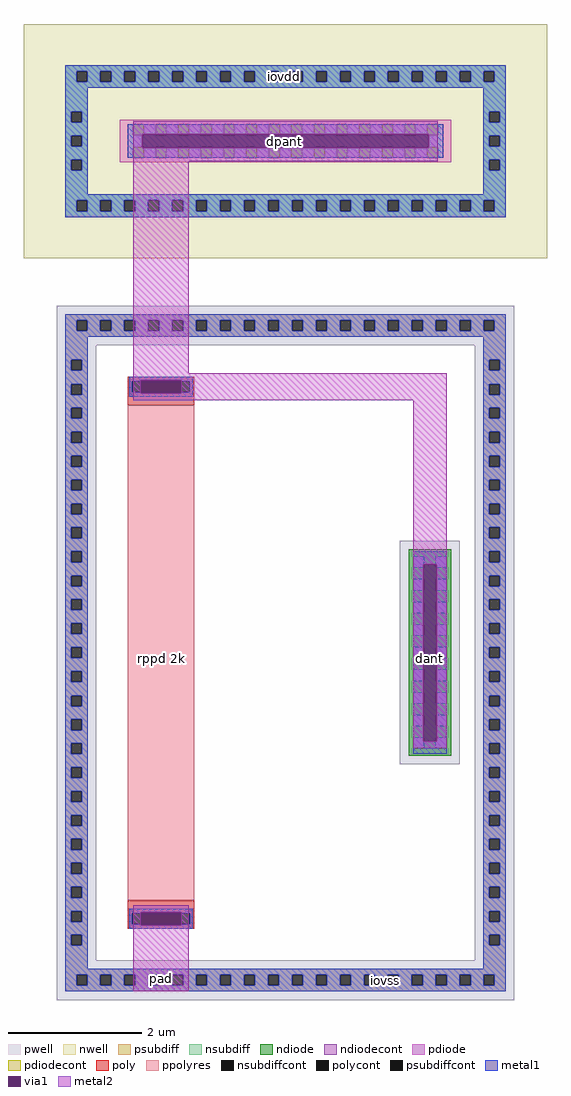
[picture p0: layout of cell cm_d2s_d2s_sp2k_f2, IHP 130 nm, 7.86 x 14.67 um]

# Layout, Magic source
magic
tech ihp-sg13cmos5l
magscale 1 2
<< nwell >>
rect -124 2203 1448 2907
<< pwell >>
rect -26 1941 1350 2061
rect -26 94 94 1941
rect 1230 94 1350 1941
rect -26 -26 1350 94
<< psubdiff >>
rect 0 2017 1324 2035
rect 0 1985 34 2017
rect 66 1985 106 2017
rect 138 1985 178 2017
rect 210 1985 250 2017
rect 282 1985 322 2017
rect 354 1985 394 2017
rect 426 1985 466 2017
rect 498 1985 538 2017
rect 570 1985 610 2017
rect 642 1985 682 2017
rect 714 1985 754 2017
rect 786 1985 826 2017
rect 858 1985 898 2017
rect 930 1985 970 2017
rect 1002 1985 1042 2017
rect 1074 1985 1114 2017
rect 1146 1985 1186 2017
rect 1218 1985 1258 2017
rect 1290 1985 1324 2017
rect 0 1967 1324 1985
rect 0 1898 68 1967
rect 0 1866 18 1898
rect 50 1866 68 1898
rect 0 1825 68 1866
rect 0 1793 18 1825
rect 50 1793 68 1825
rect 0 1754 68 1793
rect 0 1722 18 1754
rect 50 1722 68 1754
rect 0 1681 68 1722
rect 0 1649 18 1681
rect 50 1649 68 1681
rect 0 1609 68 1649
rect 0 1577 18 1609
rect 50 1577 68 1609
rect 0 1538 68 1577
rect 0 1506 18 1538
rect 50 1506 68 1538
rect 0 1465 68 1506
rect 0 1433 18 1465
rect 50 1433 68 1465
rect 0 1394 68 1433
rect 0 1362 18 1394
rect 50 1362 68 1394
rect 0 1322 68 1362
rect 0 1290 18 1322
rect 50 1290 68 1322
rect 0 1249 68 1290
rect 0 1217 18 1249
rect 50 1217 68 1249
rect 0 1178 68 1217
rect 0 1146 18 1178
rect 50 1146 68 1178
rect 0 1106 68 1146
rect 0 1074 18 1106
rect 50 1074 68 1106
rect 0 1034 68 1074
rect 0 1002 18 1034
rect 50 1002 68 1034
rect 0 962 68 1002
rect 0 930 18 962
rect 50 930 68 962
rect 0 889 68 930
rect 0 857 18 889
rect 50 857 68 889
rect 0 817 68 857
rect 0 785 18 817
rect 50 785 68 817
rect 0 746 68 785
rect 0 714 18 746
rect 50 714 68 746
rect 0 674 68 714
rect 0 642 18 674
rect 50 642 68 674
rect 0 602 68 642
rect 0 570 18 602
rect 50 570 68 602
rect 0 529 68 570
rect 0 497 18 529
rect 50 497 68 529
rect 0 458 68 497
rect 0 426 18 458
rect 50 426 68 458
rect 0 386 68 426
rect 0 354 18 386
rect 50 354 68 386
rect 0 314 68 354
rect 0 282 18 314
rect 50 282 68 314
rect 0 241 68 282
rect 0 209 18 241
rect 50 209 68 241
rect 0 170 68 209
rect 0 138 18 170
rect 50 138 68 170
rect 0 68 68 138
rect 1256 1898 1324 1967
rect 1256 1866 1274 1898
rect 1306 1866 1324 1898
rect 1256 1825 1324 1866
rect 1256 1793 1274 1825
rect 1306 1793 1324 1825
rect 1256 1754 1324 1793
rect 1256 1722 1274 1754
rect 1306 1722 1324 1754
rect 1256 1681 1324 1722
rect 1256 1649 1274 1681
rect 1306 1649 1324 1681
rect 1256 1609 1324 1649
rect 1256 1577 1274 1609
rect 1306 1577 1324 1609
rect 1256 1538 1324 1577
rect 1256 1506 1274 1538
rect 1306 1506 1324 1538
rect 1256 1465 1324 1506
rect 1256 1433 1274 1465
rect 1306 1433 1324 1465
rect 1256 1394 1324 1433
rect 1256 1362 1274 1394
rect 1306 1362 1324 1394
rect 1256 1322 1324 1362
rect 1256 1290 1274 1322
rect 1306 1290 1324 1322
rect 1256 1249 1324 1290
rect 1256 1217 1274 1249
rect 1306 1217 1324 1249
rect 1256 1178 1324 1217
rect 1256 1146 1274 1178
rect 1306 1146 1324 1178
rect 1256 1106 1324 1146
rect 1256 1074 1274 1106
rect 1306 1074 1324 1106
rect 1256 1034 1324 1074
rect 1256 1002 1274 1034
rect 1306 1002 1324 1034
rect 1256 962 1324 1002
rect 1256 930 1274 962
rect 1306 930 1324 962
rect 1256 889 1324 930
rect 1256 857 1274 889
rect 1306 857 1324 889
rect 1256 817 1324 857
rect 1256 785 1274 817
rect 1306 785 1324 817
rect 1256 746 1324 785
rect 1256 714 1274 746
rect 1306 714 1324 746
rect 1256 674 1324 714
rect 1256 642 1274 674
rect 1306 642 1324 674
rect 1256 602 1324 642
rect 1256 570 1274 602
rect 1306 570 1324 602
rect 1256 529 1324 570
rect 1256 497 1274 529
rect 1306 497 1324 529
rect 1256 458 1324 497
rect 1256 426 1274 458
rect 1306 426 1324 458
rect 1256 386 1324 426
rect 1256 354 1274 386
rect 1306 354 1324 386
rect 1256 314 1324 354
rect 1256 282 1274 314
rect 1306 282 1324 314
rect 1256 241 1324 282
rect 1256 209 1274 241
rect 1306 209 1324 241
rect 1256 170 1324 209
rect 1256 138 1274 170
rect 1306 138 1324 170
rect 1256 68 1324 138
rect 0 50 1324 68
rect 0 18 34 50
rect 66 18 106 50
rect 138 18 178 50
rect 210 18 250 50
rect 282 18 322 50
rect 354 18 394 50
rect 426 18 466 50
rect 498 18 538 50
rect 570 18 610 50
rect 642 18 682 50
rect 714 18 754 50
rect 786 18 826 50
rect 858 18 898 50
rect 930 18 970 50
rect 1002 18 1042 50
rect 1074 18 1114 50
rect 1146 18 1186 50
rect 1218 18 1258 50
rect 1290 18 1324 50
rect 0 0 1324 18
<< nsubdiff >>
rect 0 2765 1324 2783
rect 0 2733 34 2765
rect 66 2733 106 2765
rect 138 2733 178 2765
rect 210 2733 250 2765
rect 282 2733 322 2765
rect 354 2733 394 2765
rect 426 2733 466 2765
rect 498 2733 538 2765
rect 570 2733 610 2765
rect 642 2733 682 2765
rect 714 2733 754 2765
rect 786 2733 826 2765
rect 858 2733 898 2765
rect 930 2733 970 2765
rect 1002 2733 1042 2765
rect 1074 2733 1114 2765
rect 1146 2733 1186 2765
rect 1218 2733 1258 2765
rect 1290 2733 1324 2765
rect 0 2715 1324 2733
rect 0 2643 68 2715
rect 0 2611 18 2643
rect 50 2611 68 2643
rect 0 2571 68 2611
rect 0 2539 18 2571
rect 50 2539 68 2571
rect 0 2499 68 2539
rect 0 2467 18 2499
rect 50 2467 68 2499
rect 0 2395 68 2467
rect 1256 2643 1324 2715
rect 1256 2611 1274 2643
rect 1306 2611 1324 2643
rect 1256 2571 1324 2611
rect 1256 2539 1274 2571
rect 1306 2539 1324 2571
rect 1256 2499 1324 2539
rect 1256 2467 1274 2499
rect 1306 2467 1324 2499
rect 1256 2395 1324 2467
rect 0 2377 1324 2395
rect 0 2345 34 2377
rect 66 2345 106 2377
rect 138 2345 178 2377
rect 210 2345 250 2377
rect 282 2345 322 2377
rect 354 2345 394 2377
rect 426 2345 466 2377
rect 498 2345 538 2377
rect 570 2345 610 2377
rect 642 2345 682 2377
rect 714 2345 754 2377
rect 786 2345 826 2377
rect 858 2345 898 2377
rect 930 2345 970 2377
rect 1002 2345 1042 2377
rect 1074 2345 1114 2377
rect 1146 2345 1186 2377
rect 1218 2345 1258 2377
rect 1290 2345 1324 2377
rect 0 2327 1324 2345
<< psubdiffcont >>
rect 34 1985 66 2017
rect 106 1985 138 2017
rect 178 1985 210 2017
rect 250 1985 282 2017
rect 322 1985 354 2017
rect 394 1985 426 2017
rect 466 1985 498 2017
rect 538 1985 570 2017
rect 610 1985 642 2017
rect 682 1985 714 2017
rect 754 1985 786 2017
rect 826 1985 858 2017
rect 898 1985 930 2017
rect 970 1985 1002 2017
rect 1042 1985 1074 2017
rect 1114 1985 1146 2017
rect 1186 1985 1218 2017
rect 1258 1985 1290 2017
rect 18 1866 50 1898
rect 18 1793 50 1825
rect 18 1722 50 1754
rect 18 1649 50 1681
rect 18 1577 50 1609
rect 18 1506 50 1538
rect 18 1433 50 1465
rect 18 1362 50 1394
rect 18 1290 50 1322
rect 18 1217 50 1249
rect 18 1146 50 1178
rect 18 1074 50 1106
rect 18 1002 50 1034
rect 18 930 50 962
rect 18 857 50 889
rect 18 785 50 817
rect 18 714 50 746
rect 18 642 50 674
rect 18 570 50 602
rect 18 497 50 529
rect 18 426 50 458
rect 18 354 50 386
rect 18 282 50 314
rect 18 209 50 241
rect 18 138 50 170
rect 1274 1866 1306 1898
rect 1274 1793 1306 1825
rect 1274 1722 1306 1754
rect 1274 1649 1306 1681
rect 1274 1577 1306 1609
rect 1274 1506 1306 1538
rect 1274 1433 1306 1465
rect 1274 1362 1306 1394
rect 1274 1290 1306 1322
rect 1274 1217 1306 1249
rect 1274 1146 1306 1178
rect 1274 1074 1306 1106
rect 1274 1002 1306 1034
rect 1274 930 1306 962
rect 1274 857 1306 889
rect 1274 785 1306 817
rect 1274 714 1306 746
rect 1274 642 1306 674
rect 1274 570 1306 602
rect 1274 497 1306 529
rect 1274 426 1306 458
rect 1274 354 1306 386
rect 1274 282 1306 314
rect 1274 209 1306 241
rect 1274 138 1306 170
rect 34 18 66 50
rect 106 18 138 50
rect 178 18 210 50
rect 250 18 282 50
rect 322 18 354 50
rect 394 18 426 50
rect 466 18 498 50
rect 538 18 570 50
rect 610 18 642 50
rect 682 18 714 50
rect 754 18 786 50
rect 826 18 858 50
rect 898 18 930 50
rect 970 18 1002 50
rect 1042 18 1074 50
rect 1114 18 1146 50
rect 1186 18 1218 50
rect 1258 18 1290 50
<< nsubdiffcont >>
rect 34 2733 66 2765
rect 106 2733 138 2765
rect 178 2733 210 2765
rect 250 2733 282 2765
rect 322 2733 354 2765
rect 394 2733 426 2765
rect 466 2733 498 2765
rect 538 2733 570 2765
rect 610 2733 642 2765
rect 682 2733 714 2765
rect 754 2733 786 2765
rect 826 2733 858 2765
rect 898 2733 930 2765
rect 970 2733 1002 2765
rect 1042 2733 1074 2765
rect 1114 2733 1146 2765
rect 1186 2733 1218 2765
rect 1258 2733 1290 2765
rect 18 2611 50 2643
rect 18 2539 50 2571
rect 18 2467 50 2499
rect 1274 2611 1306 2643
rect 1274 2539 1306 2571
rect 1274 2467 1306 2499
rect 34 2345 66 2377
rect 106 2345 138 2377
rect 178 2345 210 2377
rect 250 2345 282 2377
rect 322 2345 354 2377
rect 394 2345 426 2377
rect 466 2345 498 2377
rect 538 2345 570 2377
rect 610 2345 642 2377
rect 682 2345 714 2377
rect 754 2345 786 2377
rect 826 2345 858 2377
rect 898 2345 930 2377
rect 970 2345 1002 2377
rect 1042 2345 1074 2377
rect 1114 2345 1146 2377
rect 1186 2345 1218 2377
rect 1258 2345 1290 2377
<< metal1 >>
rect 0 2765 1324 2783
rect 0 2733 34 2765
rect 66 2733 106 2765
rect 138 2733 178 2765
rect 210 2733 250 2765
rect 282 2733 322 2765
rect 354 2733 394 2765
rect 426 2733 466 2765
rect 498 2733 538 2765
rect 570 2733 610 2765
rect 642 2733 682 2765
rect 714 2733 754 2765
rect 786 2733 826 2765
rect 858 2733 898 2765
rect 930 2733 970 2765
rect 1002 2733 1042 2765
rect 1074 2733 1114 2765
rect 1146 2733 1186 2765
rect 1218 2733 1258 2765
rect 1290 2733 1324 2765
rect 0 2715 1324 2733
rect 0 2643 68 2715
rect 0 2611 18 2643
rect 50 2611 68 2643
rect 0 2571 68 2611
rect 1256 2643 1324 2715
rect 1256 2611 1274 2643
rect 1306 2611 1324 2643
rect 0 2539 18 2571
rect 50 2539 68 2571
rect 0 2499 68 2539
rect 188 2575 1136 2605
rect 188 2535 232 2575
rect 1092 2535 1136 2575
rect 188 2505 1136 2535
rect 1256 2571 1324 2611
rect 1256 2539 1274 2571
rect 1306 2539 1324 2571
rect 0 2467 18 2499
rect 50 2467 68 2499
rect 0 2395 68 2467
rect 1256 2499 1324 2539
rect 1256 2467 1274 2499
rect 1306 2467 1324 2499
rect 1256 2395 1324 2467
rect 0 2377 1324 2395
rect 0 2345 34 2377
rect 66 2345 106 2377
rect 138 2345 178 2377
rect 210 2345 250 2377
rect 282 2345 322 2377
rect 354 2345 394 2377
rect 426 2345 466 2377
rect 498 2345 538 2377
rect 570 2345 610 2377
rect 642 2345 682 2377
rect 714 2345 754 2377
rect 786 2345 826 2377
rect 858 2345 898 2377
rect 930 2345 970 2377
rect 1002 2345 1042 2377
rect 1074 2345 1114 2377
rect 1146 2345 1186 2377
rect 1218 2345 1258 2377
rect 1290 2345 1324 2377
rect 0 2327 1324 2345
rect 0 2017 1324 2035
rect 0 1985 34 2017
rect 66 1985 106 2017
rect 138 1985 178 2017
rect 210 1985 250 2017
rect 282 1985 322 2017
rect 354 1985 394 2017
rect 426 1985 466 2017
rect 498 1985 538 2017
rect 570 1985 610 2017
rect 642 1985 682 2017
rect 714 1985 754 2017
rect 786 1985 826 2017
rect 858 1985 898 2017
rect 930 1985 970 2017
rect 1002 1985 1042 2017
rect 1074 1985 1114 2017
rect 1146 1985 1186 2017
rect 1218 1985 1258 2017
rect 1290 1985 1324 2017
rect 0 1967 1324 1985
rect 0 1898 68 1967
rect 0 1866 18 1898
rect 50 1866 68 1898
rect 0 1825 68 1866
rect 1256 1898 1324 1967
rect 1256 1866 1274 1898
rect 1306 1866 1324 1898
rect 0 1793 18 1825
rect 50 1793 68 1825
rect 1256 1825 1324 1866
rect 0 1754 68 1793
rect 0 1722 18 1754
rect 50 1722 68 1754
rect 0 1681 68 1722
rect 0 1649 18 1681
rect 50 1649 68 1681
rect 0 1609 68 1649
rect 0 1577 18 1609
rect 50 1577 68 1609
rect 0 1538 68 1577
rect 0 1506 18 1538
rect 50 1506 68 1538
rect 0 1465 68 1506
rect 0 1433 18 1465
rect 50 1433 68 1465
rect 0 1394 68 1433
rect 0 1362 18 1394
rect 50 1362 68 1394
rect 0 1322 68 1362
rect 1256 1793 1274 1825
rect 1306 1793 1324 1825
rect 1256 1754 1324 1793
rect 1256 1722 1274 1754
rect 1306 1722 1324 1754
rect 1256 1681 1324 1722
rect 1256 1649 1274 1681
rect 1306 1649 1324 1681
rect 1256 1609 1324 1649
rect 1256 1577 1274 1609
rect 1306 1577 1324 1609
rect 1256 1538 1324 1577
rect 1256 1506 1274 1538
rect 1306 1506 1324 1538
rect 1256 1465 1324 1506
rect 1256 1433 1274 1465
rect 1306 1433 1324 1465
rect 1256 1394 1324 1433
rect 1256 1362 1274 1394
rect 1306 1362 1324 1394
rect 1256 1322 1324 1362
rect 0 1290 18 1322
rect 50 1290 68 1322
rect 0 1249 68 1290
rect 0 1217 18 1249
rect 50 1217 68 1249
rect 0 1178 68 1217
rect 0 1146 18 1178
rect 50 1146 68 1178
rect 0 1106 68 1146
rect 0 1074 18 1106
rect 50 1074 68 1106
rect 0 1034 68 1074
rect 0 1002 18 1034
rect 50 1002 68 1034
rect 0 962 68 1002
rect 0 930 18 962
rect 50 930 68 962
rect 0 889 68 930
rect 0 857 18 889
rect 50 857 68 889
rect 0 817 68 857
rect 0 785 18 817
rect 50 785 68 817
rect 0 746 68 785
rect 0 714 18 746
rect 50 714 68 746
rect 1046 1284 1146 1322
rect 1046 752 1076 1284
rect 1116 752 1146 1284
rect 1046 714 1146 752
rect 1256 1290 1274 1322
rect 1306 1290 1324 1322
rect 1256 1249 1324 1290
rect 1256 1217 1274 1249
rect 1306 1217 1324 1249
rect 1256 1178 1324 1217
rect 1256 1146 1274 1178
rect 1306 1146 1324 1178
rect 1256 1106 1324 1146
rect 1256 1074 1274 1106
rect 1306 1074 1324 1106
rect 1256 1034 1324 1074
rect 1256 1002 1274 1034
rect 1306 1002 1324 1034
rect 1256 962 1324 1002
rect 1256 930 1274 962
rect 1306 930 1324 962
rect 1256 889 1324 930
rect 1256 857 1274 889
rect 1306 857 1324 889
rect 1256 817 1324 857
rect 1256 785 1274 817
rect 1306 785 1324 817
rect 1256 746 1324 785
rect 1256 714 1274 746
rect 1306 714 1324 746
rect 0 674 68 714
rect 0 642 18 674
rect 50 642 68 674
rect 0 602 68 642
rect 0 570 18 602
rect 50 570 68 602
rect 0 529 68 570
rect 0 497 18 529
rect 50 497 68 529
rect 0 458 68 497
rect 0 426 18 458
rect 50 426 68 458
rect 0 386 68 426
rect 0 354 18 386
rect 50 354 68 386
rect 0 314 68 354
rect 0 282 18 314
rect 50 282 68 314
rect 0 241 68 282
rect 0 209 18 241
rect 50 209 68 241
rect 1256 674 1324 714
rect 1256 642 1274 674
rect 1306 642 1324 674
rect 1256 602 1324 642
rect 1256 570 1274 602
rect 1306 570 1324 602
rect 1256 529 1324 570
rect 1256 497 1274 529
rect 1306 497 1324 529
rect 1256 458 1324 497
rect 1256 426 1274 458
rect 1306 426 1324 458
rect 1256 386 1324 426
rect 1256 354 1274 386
rect 1306 354 1324 386
rect 1256 314 1324 354
rect 1256 282 1274 314
rect 1306 282 1324 314
rect 1256 241 1324 282
rect 0 170 68 209
rect 1256 209 1274 241
rect 1306 209 1324 241
rect 0 138 18 170
rect 50 138 68 170
rect 0 68 68 138
rect 1256 170 1324 209
rect 1256 138 1274 170
rect 1306 138 1324 170
rect 1256 68 1324 138
rect 0 50 1324 68
rect 0 18 34 50
rect 66 18 106 50
rect 138 18 178 50
rect 210 18 250 50
rect 282 18 322 50
rect 354 18 394 50
rect 426 18 466 50
rect 498 18 538 50
rect 570 18 610 50
rect 642 18 682 50
rect 714 18 754 50
rect 786 18 826 50
rect 858 18 898 50
rect 930 18 970 50
rect 1002 18 1042 50
rect 1074 18 1114 50
rect 1146 18 1186 50
rect 1218 18 1258 50
rect 1290 18 1324 50
rect 0 0 1324 18
<< via1 >>
rect 232 2535 1092 2575
rect 227 1797 349 1837
rect 1076 752 1116 1284
rect 227 198 349 238
<< metal2 >>
rect 204 2575 1120 2615
rect 204 2535 232 2575
rect 1092 2535 1120 2575
rect 204 2495 1120 2535
rect 204 1857 372 2495
rect 204 1837 1146 1857
rect 204 1797 227 1837
rect 349 1797 1146 1837
rect 204 1777 1146 1797
rect 1046 1284 1146 1777
rect 1046 752 1076 1284
rect 1116 752 1146 1284
rect 1046 730 1146 752
rect 204 238 372 258
rect 204 198 227 238
rect 349 198 372 238
rect 204 0 372 198
use cm_d2s_dantenna  cm_d2s_dantenna_0
transform 1 0 1032 0 1 708
box -26 -26 154 646
use cm_d2s_dpantenna  cm_d2s_dpantenna_0
transform 0 -1 1160 1 0 2491
box -62 -62 190 1058
use cm_d2s_rppd  cm_d2s_rppd_0
transform 1 0 188 0 1 274
box 0 -86 200 1573
<< labels >>
rlabel comment s 288 1000 288 1000 4 rppd 2k
rlabel comment s 1096 1000 1096 1000 4 dant
rlabel comment s 660 2555 660 2555 4 dpant
rlabel metal2 s 204 0 372 80 4 pad
port 2 nsew
rlabel metal2 s 1046 908 1146 1008 4 core
port 3 nsew
rlabel metal1 s 600 0 1324 68 4 iovss
port 4 nsew
rlabel metal1 s 400 2715 920 2783 4 iovdd
port 5 nsew
<< properties >>
string GDS_END 274912
string GDS_FILE custom_io/gds/sg13cmos5l_IOPadDiff2Single.uniq.gds
string GDS_START 262772
<< end >>

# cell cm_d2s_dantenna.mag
magic
tech ihp-sg13cmos5l
<< pwell >>
rect -13 -13 77 323
<< ndiode >>
rect 0 299 64 310
rect 0 283 7 299
rect 23 283 41 299
rect 57 283 64 299
rect 0 265 64 283
rect 0 249 7 265
rect 23 249 41 265
rect 57 249 64 265
rect 0 231 64 249
rect 0 215 7 231
rect 23 215 41 231
rect 57 215 64 231
rect 0 197 64 215
rect 0 181 7 197
rect 23 181 41 197
rect 57 181 64 197
rect 0 163 64 181
rect 0 147 7 163
rect 23 147 41 163
rect 57 147 64 163
rect 0 129 64 147
rect 0 113 7 129
rect 23 113 41 129
rect 57 113 64 129
rect 0 95 64 113
rect 0 79 7 95
rect 23 79 41 95
rect 57 79 64 95
rect 0 61 64 79
rect 0 45 7 61
rect 23 45 41 61
rect 57 45 64 61
rect 0 27 64 45
rect 0 11 7 27
rect 23 11 41 27
rect 57 11 64 27
rect 0 0 64 11
<< ndiodecont >>
rect 7 283 23 299
rect 41 283 57 299
rect 7 249 23 265
rect 41 249 57 265
rect 7 215 23 231
rect 41 215 57 231
rect 7 181 23 197
rect 41 181 57 197
rect 7 147 23 163
rect 41 147 57 163
rect 7 113 23 129
rect 41 113 57 129
rect 7 79 23 95
rect 41 79 57 95
rect 7 45 23 61
rect 41 45 57 61
rect 7 11 23 27
rect 41 11 57 27
<< metal1 >>
rect 23 283 41 299
rect 7 265 57 283
rect 23 249 41 265
rect 7 231 57 249
rect 23 215 41 231
rect 7 197 57 215
rect 23 181 41 197
rect 7 163 57 181
rect 23 147 41 163
rect 7 129 57 147
rect 23 113 41 129
rect 7 95 57 113
rect 23 79 41 95
rect 7 61 57 79
rect 23 45 41 61
rect 7 27 57 45
rect 23 11 41 27
<< labels >>
flabel comment s 32 155 32 155 0 FreeSans 200 0 0 0 dant
<< properties >>
string GDS_END 59674
string GDS_FILE custom_io/gds/sg13cmos5l_IOPadDiff2Single.uniq.gds
string GDS_START 58198
<< end >>

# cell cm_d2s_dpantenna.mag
magic
tech ihp-sg13cmos5l
<< nwell >>
rect -31 -31 95 529
<< pdiode >>
rect 0 478 64 498
rect 0 462 7 478
rect 23 462 41 478
rect 57 462 64 478
rect 0 444 64 462
rect 0 428 7 444
rect 23 428 41 444
rect 57 428 64 444
rect 0 410 64 428
rect 0 394 7 410
rect 23 394 41 410
rect 57 394 64 410
rect 0 376 64 394
rect 0 360 7 376
rect 23 360 41 376
rect 57 360 64 376
rect 0 342 64 360
rect 0 326 7 342
rect 23 326 41 342
rect 57 326 64 342
rect 0 308 64 326
rect 0 292 7 308
rect 23 292 41 308
rect 57 292 64 308
rect 0 274 64 292
rect 0 258 7 274
rect 23 258 41 274
rect 57 258 64 274
rect 0 240 64 258
rect 0 224 7 240
rect 23 224 41 240
rect 57 224 64 240
rect 0 206 64 224
rect 0 190 7 206
rect 23 190 41 206
rect 57 190 64 206
rect 0 172 64 190
rect 0 156 7 172
rect 23 156 41 172
rect 57 156 64 172
rect 0 138 64 156
rect 0 122 7 138
rect 23 122 41 138
rect 57 122 64 138
rect 0 104 64 122
rect 0 88 7 104
rect 23 88 41 104
rect 57 88 64 104
rect 0 70 64 88
rect 0 54 7 70
rect 23 54 41 70
rect 57 54 64 70
rect 0 36 64 54
rect 0 20 7 36
rect 23 20 41 36
rect 57 20 64 36
rect 0 0 64 20
<< pdiodecont >>
rect 7 462 23 478
rect 41 462 57 478
rect 7 428 23 444
rect 41 428 57 444
rect 7 394 23 410
rect 41 394 57 410
rect 7 360 23 376
rect 41 360 57 376
rect 7 326 23 342
rect 41 326 57 342
rect 7 292 23 308
rect 41 292 57 308
rect 7 258 23 274
rect 41 258 57 274
rect 7 224 23 240
rect 41 224 57 240
rect 7 190 23 206
rect 41 190 57 206
rect 7 156 23 172
rect 41 156 57 172
rect 7 122 23 138
rect 41 122 57 138
rect 7 88 23 104
rect 41 88 57 104
rect 7 54 23 70
rect 41 54 57 70
rect 7 20 23 36
rect 41 20 57 36
<< metal1 >>
rect 23 462 41 478
rect 7 444 57 462
rect 23 428 41 444
rect 7 410 57 428
rect 23 394 41 410
rect 7 376 57 394
rect 23 360 41 376
rect 7 342 57 360
rect 23 326 41 342
rect 7 308 57 326
rect 23 292 41 308
rect 7 274 57 292
rect 23 258 41 274
rect 7 240 57 258
rect 23 224 41 240
rect 7 206 57 224
rect 23 190 41 206
rect 7 172 57 190
rect 23 156 41 172
rect 7 138 57 156
rect 23 122 41 138
rect 7 104 57 122
rect 23 88 41 104
rect 7 70 57 88
rect 23 54 41 70
rect 7 36 57 54
rect 23 20 41 36
<< labels >>
flabel comment s 32 249 32 249 0 FreeSans 200 0 0 0 dpant
<< properties >>
string GDS_END 58150
string GDS_FILE custom_io/gds/sg13cmos5l_IOPadDiff2Single.uniq.gds
string GDS_START 55904
<< end >>

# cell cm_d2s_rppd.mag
magic
tech ihp-sg13cmos5l
magscale 1 2
<< poly >>
rect 0 1559 200 1573
rect 0 1527 14 1559
rect 186 1527 200 1559
rect 0 1487 200 1527
rect 0 -40 200 0
rect 0 -72 14 -40
rect 186 -72 200 -40
rect 0 -86 200 -72
<< polycont >>
rect 14 1527 186 1559
rect 14 -72 186 -40
<< ppolyres >>
rect 0 0 200 1487
<< metal1 >>
rect 4 1559 196 1573
rect 4 1527 14 1559
rect 186 1527 196 1559
rect 4 1513 196 1527
rect 4 -40 196 -26
rect 4 -72 14 -40
rect 186 -72 196 -40
rect 4 -86 196 -72
<< labels >>
flabel comment s 100 743 100 743 0 FreeSans 200 90 0 0 rppd r=1991.571
<< properties >>
string GDS_END 61090
string GDS_FILE custom_io/gds/sg13cmos5l_IOPadDiff2Single.uniq.gds
string GDS_START 59718
string MASKHINTS_CONTBAR 14 1527 186 1559 14 -72 186 -40
<< end >>
